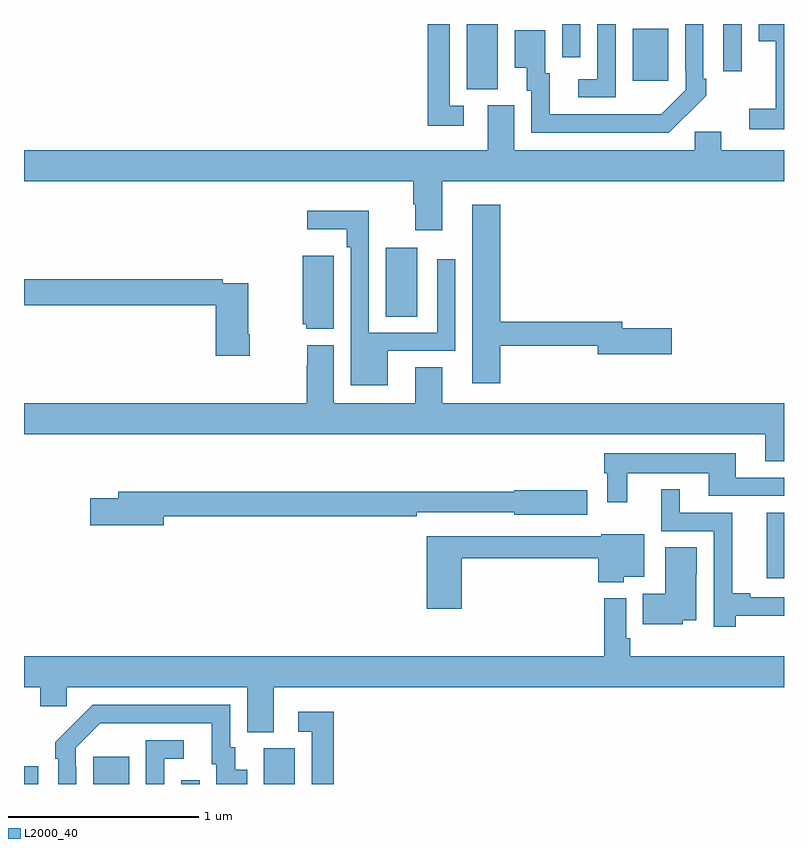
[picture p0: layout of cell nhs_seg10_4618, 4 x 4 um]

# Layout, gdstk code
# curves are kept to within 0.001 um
import gdstk
lib = gdstk.Library(unit=1e-6, precision=1e-09)
def R(c, l, rs):  # rectangles x0, y0, x1, y1
    for r in rs: c.add(gdstk.rectangle(r[:2], r[2:], *l))
def P(c, l, *ps):  # polygons
    for p in ps: c.add(gdstk.Polygon(p, *l))
L2000_40 = (2000, 40)

nhs_seg10_4618 = lib.new_cell('nhs_seg10_4618')
R(nhs_seg10_4618, L2000_40, [(375,1274.5,375.075,1274.593), (375.365,1274.5,375.553,1274.644), (375.828,1274.5,375.924,1274.521), (376.262,1274.5,376.426,1274.688), (378.908,1275.584,379,1275.928), (376.904,1276.96,377.071,1277.323), (377.33,1278.157,377.494,1278.5), (378.203,1278.201,378.391,1278.475), (378.681,1278.252,378.777,1278.5), (377.832,1278.324,377.928,1278.5)])
P(nhs_seg10_4618, L2000_40, [(377.314,1278.069),(377.241,1278.069),(377.241,1278.5),(377.125,1278.5),(377.125,1277.964),(377.314,1277.964)],
  [(378.114,1278.5),(378.018,1278.5),(378.018,1278.21),(377.916,1278.21),(377.916,1278.114),(378.114,1278.114)],
  [(379,1278.5),(378.866,1278.5),(378.866,1278.41),(378.956,1278.41),(378.956,1278.055),(378.816,1278.055),(378.816,1277.946),(379,1277.946)],
  [(378.485,1278.019),(378.486,1278.018),(378.591,1278.123),(378.591,1278.211),(378.576,1278.211),(378.576,1278.5),(378.48,1278.5),(378.48,1278.253),(378.483,1278.253),(378.483,1278.153),(378.355,1278.025),(377.767,1278.024),(377.767,1278.24),(377.743,1278.24),(377.743,1278.466),(377.582,1278.466),(377.582,1278.269),(377.645,1278.269),(377.645,1278.15),(377.67,1278.15),(377.67,1277.928),(378.394,1277.928)],
  [(377.2,1277.672),(379,1277.672),(379,1277.836),(378.67,1277.836),(378.67,1277.934),(378.531,1277.934),(378.531,1277.836),(377.581,1277.836),(377.581,1278.072),(377.441,1278.072),(377.441,1277.836),(375,1277.836),(375,1277.672),(377.048,1277.672),(377.048,1277.552),(377.06,1277.552),(377.06,1277.415),(377.2,1277.415)],
  [(377.507,1276.806),(378.02,1276.806),(378.02,1276.763),(378.409,1276.763),(378.409,1276.898),(378.148,1276.898),(378.148,1276.934),(377.507,1276.934),(377.507,1277.548),(377.36,1277.548),(377.36,1276.608),(377.507,1276.608)],
  [(376.915,1276.779),(377.271,1276.779),(377.271,1277.263),(377.175,1277.263),(377.175,1276.875),(376.815,1276.875),(376.815,1277.518),(376.491,1277.518),(376.491,1277.42),(376.699,1277.42),(376.699,1277.324),(376.719,1277.324),(376.719,1276.598),(376.915,1276.598)],
  [(376.63,1277.281),(376.466,1277.281),(376.466,1276.92),(376.485,1276.92),(376.485,1276.895),(376.63,1276.895)],
  [(376.188,1276.867),(376.18,1276.867),(376.18,1277.136),(376.046,1277.136),(376.046,1277.156),(375,1277.156),(375,1277.02),(376.01,1277.02),(376.01,1276.755),(376.188,1276.755)],
  [(379,1276.504),(377.2,1276.504),(377.2,1276.694),(377.06,1276.694),(377.06,1276.504),(376.63,1276.504),(376.63,1276.81),(376.492,1276.81),(376.492,1276.703),(376.487,1276.703),(376.487,1276.504),(375,1276.504),(375,1276.34),(378.902,1276.34),(378.902,1276.198),(379,1276.198)],
  [(378.175,1276.136),(378.605,1276.136),(378.605,1276.017),(379,1276.017),(379,1276.113),(378.745,1276.113),(378.745,1276.24),(378.054,1276.24),(378.054,1276.135),(378.071,1276.135),(378.071,1275.984),(378.175,1275.984)],
  [(378.746,1275.386),(379,1275.386),(379,1275.483),(378.823,1275.483),(378.823,1275.503),(378.728,1275.503),(378.728,1275.927),(378.451,1275.927),(378.451,1276.051),(378.353,1276.051),(378.353,1275.831),(378.63,1275.831),(378.63,1275.327),(378.746,1275.327)],
  [(375.736,1275.91),(377.066,1275.91),(377.066,1275.93),(377.58,1275.93),(377.58,1275.917),(377.965,1275.917),(377.965,1276.047),(377.58,1276.047),(377.58,1276.039),(375.497,1276.039),(375.497,1276.005),(375.348,1276.005),(375.348,1275.863),(375.736,1275.863)],
  [(377.303,1275.688),(378.023,1275.688),(378.023,1275.563),(378.156,1275.563),(378.156,1275.59),(378.265,1275.59),(378.265,1275.814),(378.039,1275.814),(378.039,1275.804),(377.12,1275.804),(377.12,1275.423),(377.303,1275.423)],
  [(378.468,1275.362),(378.538,1275.362),(378.538,1275.606),(378.541,1275.606),(378.541,1275.746),(378.374,1275.746),(378.374,1275.502),(378.256,1275.502),(378.256,1275.341),(378.468,1275.341)],
  [(376.315,1275.008),(379,1275.008),(379,1275.172),(378.191,1275.172),(378.191,1275.268),(378.171,1275.268),(378.171,1275.478),(378.055,1275.478),(378.055,1275.172),(375,1275.172),(375,1275.008),(375.086,1275.008),(375.086,1274.91),(375.225,1274.91),(375.225,1275.008),(376.175,1275.008),(376.175,1274.773),(376.315,1274.773)],
  [(375.276,1274.591),(375.273,1274.591),(375.273,1274.691),(375.402,1274.82),(375.989,1274.82),(375.989,1274.604),(376.013,1274.604),(376.013,1274.5),(376.174,1274.5),(376.174,1274.575),(376.111,1274.575),(376.111,1274.694),(376.086,1274.694),(376.086,1274.916),(375.362,1274.916),(375.165,1274.721),(375.165,1274.633),(375.18,1274.633),(375.18,1274.5),(375.276,1274.5)],
  [(376.631,1274.881),(376.443,1274.881),(376.443,1274.775),(376.515,1274.775),(376.515,1274.5),(376.631,1274.5)],
  [(375.738,1274.634),(375.841,1274.634),(375.841,1274.73),(375.642,1274.73),(375.642,1274.5),(375.738,1274.5)])

lib.write_gds('nhs_seg10_4618.gds')
